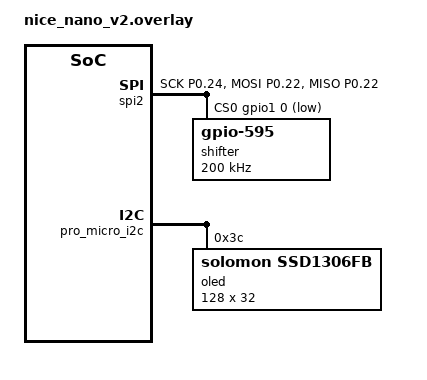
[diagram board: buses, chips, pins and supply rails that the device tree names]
#include <zephyr/dt-bindings/input/input-event-codes.h>

&pinctrl {
    spi2_default: spi2_default {
        group1 {
            psels = <NRF_PSEL(SPIM_SCK, 0, 24)>,
                <NRF_PSEL(SPIM_MOSI, 0, 22)>,
                <NRF_PSEL(SPIM_MISO, 0, 22)>;
        };
    };

    spi2_sleep: spi2_sleep {
        group1 {
            psels = <NRF_PSEL(SPIM_SCK, 0, 24)>,
                <NRF_PSEL(SPIM_MOSI, 0, 22)>,
                <NRF_PSEL(SPIM_MISO, 0, 22)>;
            low-power-enable;
        };
    };

    i2c0_default: i2c0_default {
        group1 {
            psels = <NRF_PSEL(TWIM_SCL, 0, 17)>,
                <NRF_PSEL(TWIM_SDA, 0, 20)>;
        };
    };

    i2c0_sleep: i2c0_sleep {
        group1 {
            psels = <NRF_PSEL(TWIM_SCL, 0, 17)>,
                <NRF_PSEL(TWIM_SDA, 0, 20)>;
            low-power-enable;
        };
    };
};

&spi2 {
    status = "okay";
    compatible = "nordic,nrf-spim";
    pinctrl-0 = <&spi2_default>;
    pinctrl-1 = <&spi2_sleep>;
    pinctrl-names = "default", "sleep";
    cs-gpios = <&gpio1 0 GPIO_ACTIVE_LOW>;

    shifter: 595@0 {
        compatible = "zmk,gpio-595";
        status = "okay";
        gpio-controller;
        spi-max-frequency = <200000>;
        reg = <0>;
        #gpio-cells = <2>;
        ngpios = <8>;
    };
};

&pro_micro_i2c {
    status = "okay";

    oled: ssd1306@3c {
        compatible = "solomon,ssd1306fb";
        reg = <0x3c>;
        width = <128>;
        height = <32>;
        segment-offset = <0>;
        page-offset = <0>;
        display-offset = <0>;
        multiplex-ratio = <31>;
        segment-remap;
        com-invdir;
        com-sequential;
        inversion-on;
        prechargep = <0x22>;
    };
};
